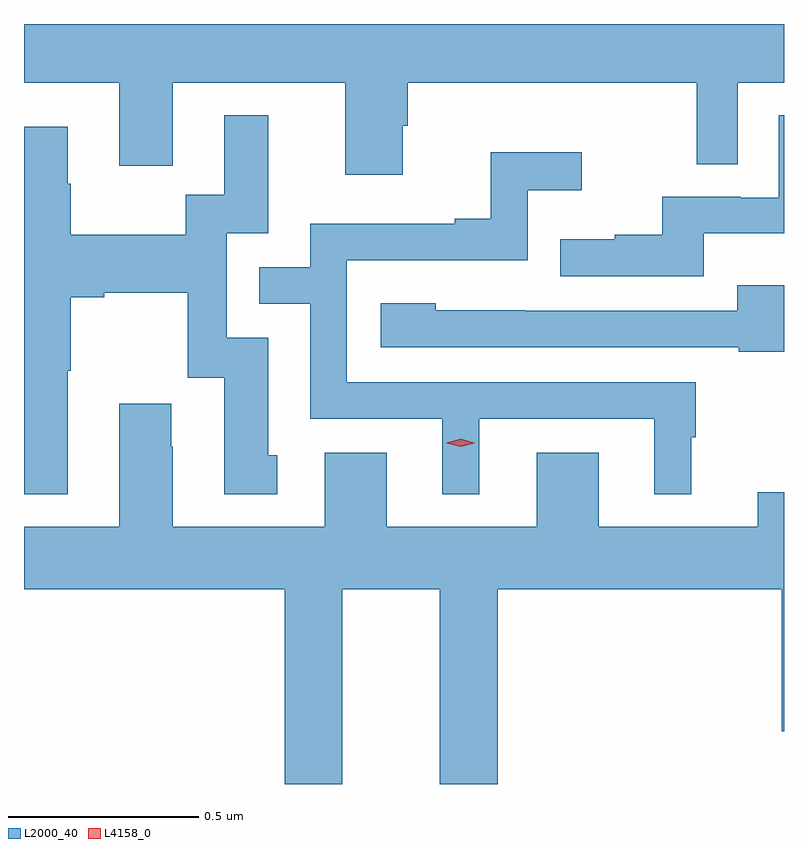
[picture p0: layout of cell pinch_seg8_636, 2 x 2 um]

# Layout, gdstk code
import gdstk
lib = gdstk.Library(unit=1e-6, precision=1e-09)
def P(c, l, *ps):  # polygons
    for p in ps: c.add(gdstk.Polygon(p, *l))
L2000_40 = (2000, 40)
L4158_0 = (4158, 0)

pinch_seg8_636 = lib.new_cell('pinch_seg8_636')
P(pinch_seg8_636, L2000_40, [(223.951,1088.415),(223.964,1088.415),(223.964,1088.528),(224.724,1088.528),(224.724,1088.314),(224.832,1088.314),(224.832,1088.528),(224.954,1088.528),(224.954,1088.683),(222.954,1088.683),(222.954,1088.528),(223.205,1088.528),(223.205,1088.31),(223.345,1088.31),(223.345,1088.528),(223.799,1088.528),(223.799,1088.286),(223.951,1088.286)],
  [(223.069,1087.771),(223.077,1087.771),(223.077,1087.964),(223.165,1087.964),(223.165,1087.976),(223.385,1087.976),(223.385,1087.752),(223.481,1087.752),(223.481,1087.446),(223.621,1087.446),(223.621,1087.548),(223.597,1087.548),(223.597,1087.857),(223.488,1087.857),(223.488,1088.133),(223.597,1088.133),(223.597,1088.443),(223.481,1088.443),(223.481,1088.234),(223.38,1088.234),(223.38,1088.128),(223.077,1088.128),(223.077,1088.262),(223.069,1088.262),(223.069,1088.413),(222.954,1088.413),(222.954,1087.445),(223.069,1087.445)],
  [(224.743,1088.132),(224.954,1088.132),(224.954,1088.443),(224.94,1088.443),(224.94,1088.226),(224.84,1088.226),(224.84,1088.229),(224.633,1088.229),(224.633,1088.128),(224.509,1088.128),(224.509,1088.116),(224.365,1088.116),(224.365,1088.019),(224.743,1088.019)],
  [(224.152,1087.644),(224.612,1087.644),(224.612,1087.445),(224.71,1087.445),(224.71,1087.596),(224.722,1087.596),(224.722,1087.74),(223.803,1087.74),(223.803,1088.061),(224.28,1088.061),(224.28,1088.246),(224.422,1088.246),(224.422,1088.345),(224.182,1088.345),(224.182,1088.17),(224.087,1088.17),(224.087,1088.157),(223.707,1088.157),(223.707,1088.043),(223.573,1088.043),(223.573,1087.947),(223.707,1087.947),(223.707,1087.644),(224.054,1087.644),(224.054,1087.445),(224.152,1087.445)],
  [(224.954,1087.996),(224.831,1087.996),(224.831,1087.929),(224.273,1087.929),(224.273,1087.93),(224.037,1087.93),(224.037,1087.948),(223.893,1087.948),(223.893,1087.833),(224.835,1087.833),(224.835,1087.821),(224.954,1087.821)],
  [(224.948,1086.822),(224.954,1086.822),(224.954,1087.451),(224.885,1087.451),(224.885,1087.36),(224.467,1087.36),(224.467,1087.555),(224.303,1087.555),(224.303,1087.36),(223.909,1087.36),(223.909,1087.555),(223.745,1087.555),(223.745,1087.36),(223.345,1087.36),(223.345,1087.571),(223.342,1087.571),(223.342,1087.684),(223.205,1087.684),(223.205,1087.36),(222.954,1087.36),(222.954,1087.196),(223.64,1087.196),(223.64,1086.683),(223.792,1086.683),(223.792,1087.196),(224.048,1087.196),(224.048,1086.683),(224.201,1086.683),(224.201,1087.196),(224.948,1087.196)])
P(pinch_seg8_636, L4158_0, [(224.103,1087.571),(224.067,1087.58),(224.067,1087.581),(224.067,1087.581),(224.103,1087.591),(224.139,1087.581),(224.139,1087.581),(224.139,1087.58)])

lib.write_gds('pinch_seg8_636.gds')
